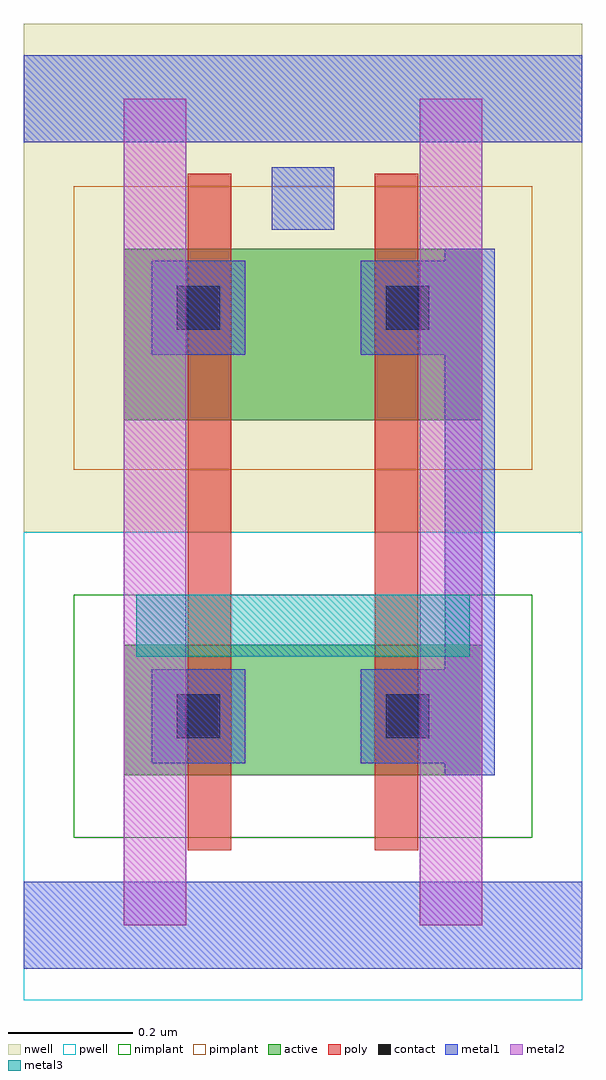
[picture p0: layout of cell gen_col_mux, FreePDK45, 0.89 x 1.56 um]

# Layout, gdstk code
import gdstk
lib = gdstk.Library(unit=1e-6, precision=5e-10)
def R(c, l, rs):  # rectangles x0, y0, x1, y1
    for r in rs: c.add(gdstk.rectangle(r[:2], r[2:], *l))
active = (1, 0)
pwell = (2, 0)
nwell = (3, 0)
nimplant = (4, 0)
pimplant = (5, 0)
poly = (9, 0)
contact = (10, 0)
metal1 = (11, 0)
metal2 = (13, 0)
metal3 = (15, 0)

gen_col_mux = lib.new_cell('gen_col_mux')
R(gen_col_mux, active, [(0.16,0.36,0.735,0.57), (0.16,0.93,0.735,1.205)])
R(gen_col_mux, pwell, [(0,0,0.895,0.75)])
R(gen_col_mux, nwell, [(0,0.75,0.895,1.565)])
R(gen_col_mux, nimplant, [(0.08,0.26,0.815,0.65)])
R(gen_col_mux, pimplant, [(0.08,0.85,0.815,1.305)])
R(gen_col_mux, poly, [(0.2625,0.24,0.3325,1.325), (0.5625,0.24,0.6325,1.325)])
R(gen_col_mux, contact, [(0.245,0.42,0.315,0.49), (0.58,0.42,0.65,0.49), (0.245,1.075,0.315,1.145), (0.58,1.075,0.65,1.145)])
R(gen_col_mux, metal1, [(0,0.05,0.895,0.19), (0.3975,0.07,0.4975,0.17), (0.675,0.36,0.755,1.205), (0.205,0.38,0.355,0.53), (0.54,0.38,0.69,0.53), (0.205,1.035,0.355,1.185), (0.54,1.035,0.69,1.185), (0.3975,1.235,0.4975,1.335), (0,1.375,0.895,1.515), (0.3975,1.395,0.4975,1.495)])
R(gen_col_mux, metal2, [(0.16,0.12,0.26,1.445), (0.635,0.12,0.735,1.445), (0.16,0.7325,0.26,0.8325), (0.635,0.7325,0.735,0.8325)])
R(gen_col_mux, metal3, [(0.18,0.55,0.715,0.65), (0.3975,0.55,0.4975,0.65)])

lib.write_gds('gen_col_mux.gds')
